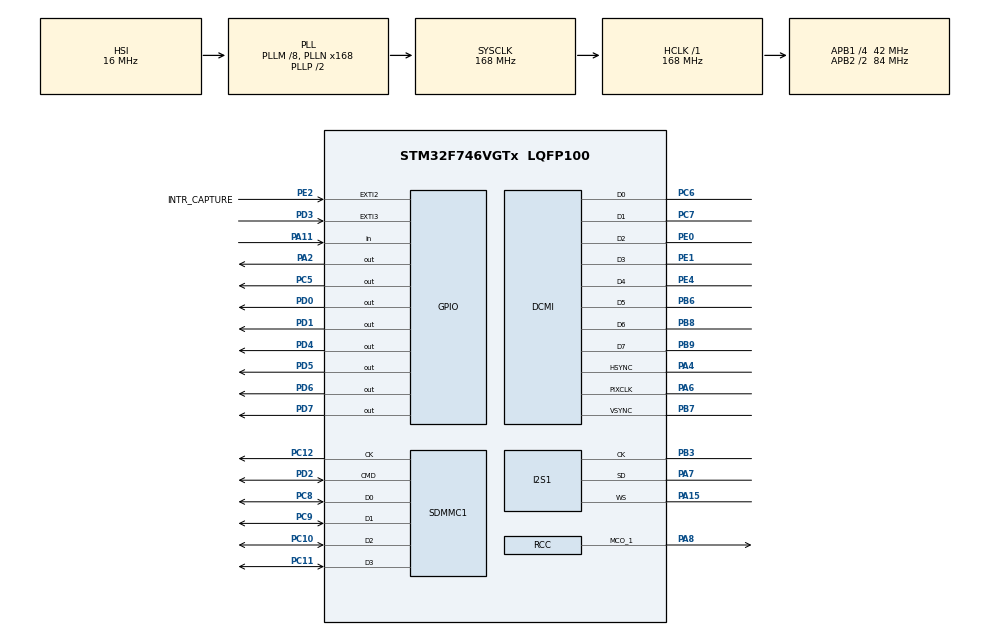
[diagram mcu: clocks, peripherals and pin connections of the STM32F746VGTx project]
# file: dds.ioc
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ARM.CMSIS.5.6.0.CMSISJjCORE=true
ARM.CMSIS.5.6.0.CMSISJjDSP=Source
DCMI.JPEGMode=DCMI_JPEG_ENABLE
DCMI.PCKPolarity=DCMI_PCKPOLARITY_RISING
Dma.DCMI.0.Direction=DMA_PERIPH_TO_MEMORY
Dma.DCMI.0.FIFOMode=DMA_FIFOMODE_DISABLE
Dma.DCMI.0.Instance=DMA2_Stream1
Dma.DCMI.0.MemDataAlignment=DMA_MDATAALIGN_WORD
Dma.DCMI.0.MemInc=DMA_MINC_ENABLE
Dma.DCMI.0.Mode=DMA_NORMAL
Dma.DCMI.0.PeriphDataAlignment=DMA_PDATAALIGN_WORD
Dma.DCMI.0.PeriphInc=DMA_PINC_DISABLE
Dma.DCMI.0.Priority=DMA_PRIORITY_HIGH
Dma.Request0=DCMI
Dma.Request1=SPI1_RX
Dma.SPI1_RX.1.Direction=DMA_PERIPH_TO_MEMORY
Dma.SPI1_RX.1.FIFOMode=DMA_FIFOMODE_DISABLE
Dma.SPI1_RX.1.Instance=DMA2_Stream0
Dma.SPI1_RX.1.MemDataAlignment=DMA_MDATAALIGN_HALFWORD
Dma.SPI1_RX.1.MemInc=DMA_MINC_ENABLE
Dma.SPI1_RX.1.Mode=DMA_NORMAL
Dma.SPI1_RX.1.PeriphDataAlignment=DMA_PDATAALIGN_HALFWORD
Dma.SPI1_RX.1.PeriphInc=DMA_PINC_DISABLE
Dma.SPI1_RX.1.Priority=DMA_PRIORITY_LOW
FATFS.BSP.number=1
FATFS._USE_LFN=1
FATFS0.BSP.STBoard=false
FATFS0.BSP.api=Unknown
FATFS0.BSP.i2caddr=0
FATFS0.BSP.instance=PA11
FATFS0.BSP.ip=GPIO
FATFS0.BSP.mode=Input
FATFS0.BSP.name=Detect_SDIO
FATFS0.BSP.solution=PA11
I2S1.AudioFreq=I2S_AUDIOFREQ_44K
I2S1.CPOL=I2S_CPOL_HIGH
I2S1.DataFormat=I2S_DATAFORMAT_24B
I2S1.ErrorAudioFreq=-1.35 %
I2S1.FullDuplexMode=I2S_FULLDUPLEXMODE_DISABLE
I2S1.Instance=SPI$Index
I2S1.Mode=I2S_MODE_MASTER_RX
I2S1.RealAudioFreq=43.402 KHz
I2S1.Standard=I2S_STANDARD_MSB
I2S1.VirtualMode=I2S_MODE_MASTER
Mcu.Family=STM32F7
Mcu.Name=STM32F746VGTx
Mcu.Package=LQFP100
Mcu.UserConstants=USE_HAL_DCMI_REGISTER_CALLBACKS,1
NVIC.DCMI_IRQn=true\:3\:0\:true\:false\:true\:true\:true
NVIC.DMA2_Stream0_IRQn=true\:0\:0\:false\:false\:true\:false\:true
NVIC.DMA2_Stream1_IRQn=true\:0\:0\:false\:false\:true\:false\:true
NVIC.EXTI2_IRQn=true\:1\:0\:true\:false\:true\:true\:true
NVIC.EXTI3_IRQn=true\:1\:0\:true\:false\:true\:true\:true
NVIC.PriorityGroup=NVIC_PRIORITYGROUP_4
NVIC.SDMMC1_IRQn=true\:2\:0\:true\:false\:true\:true\:true
NVIC.SPI1_IRQn=true\:2\:0\:true\:false\:true\:true\:true
PA11.Signal=GPIO_Input
PA13.Mode=Serial_Wire
PA13.Signal=SYS_JTMS-SWDIO
PA14.Mode=Serial_Wire
PA14.Signal=SYS_JTCK-SWCLK
PA15.Mode=Half_Duplex_Master
PA15.Signal=I2S1_WS
PA2.Signal=GPIO_Output
PA4.Mode=Slave_8_bits_External_Synchro
PA4.Signal=DCMI_HSYNC
PA6.Mode=Slave_8_bits_External_Synchro
PA6.Signal=DCMI_PIXCLK
PA7.Mode=Half_Duplex_Master
PA7.Signal=I2S1_SD
PA8.Mode=Clock-out-1
PA8.Signal=RCC_MCO_1
PB3.Mode=Half_Duplex_Master
PB3.Signal=I2S1_CK
PB6.Mode=Slave_8_bits_External_Synchro
PB6.Signal=DCMI_D5
PB7.Mode=Slave_8_bits_External_Synchro
PB7.Signal=DCMI_VSYNC
PB8.Mode=Slave_8_bits_External_Synchro
PB8.Signal=DCMI_D6
PB9.Mode=Slave_8_bits_External_Synchro
PB9.Signal=DCMI_D7
PC10.GPIO_PuPd=GPIO_PULLUP
PC10.Mode=SD_4_bits_Wide_bus
PC10.Signal=SDMMC1_D2
PC11.GPIO_PuPd=GPIO_PULLUP
PC11.Mode=SD_4_bits_Wide_bus
PC11.Signal=SDMMC1_D3
PC12.GPIO_PuPd=GPIO_PULLUP
PC12.Mode=SD_4_bits_Wide_bus
PC12.Signal=SDMMC1_CK
PC5.Signal=GPIO_Output
PC6.Mode=Slave_8_bits_External_Synchro
PC6.Signal=DCMI_D0
PC7.Mode=Slave_8_bits_External_Synchro
PC7.Signal=DCMI_D1
PC8.GPIO_PuPd=GPIO_PULLUP
PC8.Mode=SD_4_bits_Wide_bus
PC8.Signal=SDMMC1_D0
PC9.GPIO_PuPd=GPIO_PULLUP
PC9.Mode=SD_4_bits_Wide_bus
PC9.Signal=SDMMC1_D1
PD0.GPIO_ModeDefaultOutputPP=GPIO_MODE_OUTPUT_OD
PD0.GPIO_PuPd=GPIO_PULLUP
PD0.GPIO_Speed=GPIO_SPEED_FREQ_VERY_HIGH
PD0.PinState=GPIO_PIN_SET
PD0.Signal=GPIO_Output
PD1.GPIO_ModeDefaultOutputPP=GPIO_MODE_OUTPUT_OD
PD1.GPIO_PuPd=GPIO_PULLUP
PD1.GPIO_Speed=GPIO_SPEED_FREQ_VERY_HIGH
PD1.PinState=GPIO_PIN_SET
PD1.Signal=GPIO_Output
PD2.GPIO_PuPd=GPIO_PULLUP
PD2.Mode=SD_4_bits_Wide_bus
PD2.Signal=SDMMC1_CMD
PD3.GPIO_ModeDefaultEXTI=GPIO_MODE_IT_FALLING
PD3.GPIO_PuPd=GPIO_NOPULL
PD3.Signal=GPXTI3
PD4.Signal=GPIO_Output
PD5.GPIO_ModeDefaultOutputPP=GPIO_MODE_OUTPUT_PP
PD5.Signal=GPIO_Output
PD6.Signal=GPIO_Output
PD7.Signal=GPIO_Output
PE0.Mode=Slave_8_bits_External_Synchro
PE0.Signal=DCMI_D2
PE1.Mode=Slave_8_bits_External_Synchro
PE1.Signal=DCMI_D3
PE2.GPIO_Label=INTR_CAPTURE
PE2.GPIO_ModeDefaultEXTI=GPIO_MODE_IT_FALLING
PE2.GPIO_PuPd=GPIO_NOPULL
PE2.Signal=GPXTI2
PE4.Mode=Slave_8_bits_External_Synchro
PE4.Signal=DCMI_D4
ProjectManager.HeapSize=0x10000
ProjectManager.StackSize=0x800
ProjectManager.TargetToolchain=MDK-ARM V5.27
RCC.AHBFreq_Value=168000000
RCC.APB1CLKDivider=RCC_HCLK_DIV4
RCC.APB1Freq_Value=42000000
RCC.APB1TimFreq_Value=84000000
RCC.APB2CLKDivider=RCC_HCLK_DIV2
RCC.APB2Freq_Value=84000000
RCC.APB2TimFreq_Value=168000000
RCC.CortexFreq_Value=168000000
RCC.HCLKFreq_Value=168000000
RCC.HSE_VALUE=8000000
RCC.HSI_VALUE=16000000
RCC.LSE_VALUE=32768
RCC.PLLI2SN=50
RCC.PLLI2SR=4
RCC.PLLM=8
RCC.PLLN=168
RCC.PLLQ=14
RCC.SDMMCClockSelection=RCC_SDMMC1CLKSOURCE_CLK48
RCC.SYSCLKFreq_VALUE=168000000
RCC.SYSCLKSource=RCC_SYSCLKSOURCE_PLLCLK
RCC.USBFreq_Value=24000000
RCC.VCOOutputFreq_Value=336000000
VP_ARM.CMSIS_VS_CMSISJjCORE_5.3.0_5.6.0.Mode=CMSISJjCORE
VP_ARM.CMSIS_VS_CMSISJjDSP_1.7.0_5.6.0.Mode=CMSISJjDSP
VP_FATFS_VS_SDIO.Mode=SDIO
board=custom

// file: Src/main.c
#include "main.h"
#include "fatfs.h"

/* USER CODE BEGIN Includes */
#include "ov5640.h"
#include "dsp.h"
#include "board.h"
#include "led.h"
#include "camera.h"
#include "configs.h"
#include "audio.h"
#include "gpio.h"
#include "sdio.h"
#include "state_macros.h"

#include <string.h>
#include <stdio.h>
#include <stdlib.h>
#include <stdbool.h>
/* USER CODE END Includes */

DCMI_HandleTypeDef hdcmi;
DMA_HandleTypeDef hdma_dcmi;
I2S_HandleTypeDef hi2s1;
DMA_HandleTypeDef hdma_spi1_rx;
SD_HandleTypeDef hsd1;

/* USER CODE BEGIN PV */
volatile AppState state = INITIALIZING;
/* USER CODE END PV */

void SystemClock_Config(void);
static void MX_GPIO_Init(void);
static void MX_DMA_Init(void);
static void MX_I2S1_Init(void);
static void MX_DCMI_Init(void);
static void MX_SDMMC1_SD_Init(void);

/* USER CODE BEGIN PFP */
static void start_recording(void);
static void stop_recording(void);
static void toggle_record_state();
static void handle_btn_events(uint16_t pin);
/* USER CODE END PFP */

int main(void)
{

  /* MCU Configuration--------------------------------------------------------*/

  /* Reset of all peripherals, Initializes the Flash interface and the Systick. */
  HAL_Init();

  /* Configure the system clock */
  SystemClock_Config();

  /* Initialize all configured peripherals */
  MX_GPIO_Init();
  MX_DMA_Init();
  MX_I2S1_Init();
  MX_DCMI_Init();
  MX_SDMMC1_SD_Init();
  MX_FATFS_Init();
  /* USER CODE BEGIN 2 */

  init_gpio();
  init_sd_fatfs();
  init_camera();
	init_audio();

  led_ready();
	state = SUSPENDED;

  /* USER CODE END 2 */
  /* Infinite loop */
  while (1)
  {
    /* USER CODE BEGIN 3 */
    app_background_audio(state);
    app_background_camera(&hdcmi);
  }
  /* USER CODE END 3 */
}

void SystemClock_Config(void)
{
  RCC_OscInitTypeDef RCC_OscInitStruct = {0};
  RCC_ClkInitTypeDef RCC_ClkInitStruct = {0};
  RCC_PeriphCLKInitTypeDef PeriphClkInitStruct = {0};

  /** Configure the main internal regulator output voltage
   */
  __HAL_RCC_PWR_CLK_ENABLE();
  __HAL_PWR_VOLTAGESCALING_CONFIG(PWR_REGULATOR_VOLTAGE_SCALE2);
  /** Initializes the CPU, AHB and APB busses clocks
   */
  RCC_OscInitStruct.OscillatorType = RCC_OSCILLATORTYPE_HSI;
  RCC_OscInitStruct.HSIState = RCC_HSI_ON;
  RCC_OscInitStruct.HSICalibrationValue = RCC_HSICALIBRATION_DEFAULT;
  RCC_OscInitStruct.PLL.PLLState = RCC_PLL_ON;
  RCC_OscInitStruct.PLL.PLLSource = RCC_PLLSOURCE_HSI;
  RCC_OscInitStruct.PLL.PLLM = 8;
  RCC_OscInitStruct.PLL.PLLN = 168;
  RCC_OscInitStruct.PLL.PLLP = RCC_PLLP_DIV2;
  RCC_OscInitStruct.PLL.PLLQ = 14;
  if (HAL_RCC_OscConfig(&RCC_OscInitStruct) != HAL_OK)
  {
    Error_Handler();
  }
  /** Initializes the CPU, AHB and APB busses clocks
   */
  RCC_ClkInitStruct.ClockType = RCC_CLOCKTYPE_HCLK | RCC_CLOCKTYPE_SYSCLK | RCC_CLOCKTYPE_PCLK1 | RCC_CLOCKTYPE_PCLK2;
  RCC_ClkInitStruct.SYSCLKSource = RCC_SYSCLKSOURCE_PLLCLK;
  RCC_ClkInitStruct.AHBCLKDivider = RCC_SYSCLK_DIV1;
  RCC_ClkInitStruct.APB1CLKDivider = RCC_HCLK_DIV4;
  RCC_ClkInitStruct.APB2CLKDivider = RCC_HCLK_DIV2;

  if (HAL_RCC_ClockConfig(&RCC_ClkInitStruct, FLASH_LATENCY_5) != HAL_OK)
  {
    Error_Handler();
  }
  PeriphClkInitStruct.PeriphClockSelection = RCC_PERIPHCLK_SDMMC1 | RCC_PERIPHCLK_I2S | RCC_PERIPHCLK_CLK48;
  PeriphClkInitStruct.PLLI2S.PLLI2SN = 50;
  PeriphClkInitStruct.PLLI2S.PLLI2SP = RCC_PLLP_DIV2;
  PeriphClkInitStruct.PLLI2S.PLLI2SR = 4;
  PeriphClkInitStruct.PLLI2S.PLLI2SQ = 2;
  PeriphClkInitStruct.PLLI2SDivQ = 1;
  PeriphClkInitStruct.I2sClockSelection = RCC_I2SCLKSOURCE_PLLI2S;
  PeriphClkInitStruct.Clk48ClockSelection = RCC_CLK48SOURCE_PLL;
  PeriphClkInitStruct.Sdmmc1ClockSelection = RCC_SDMMC1CLKSOURCE_CLK48;
  if (HAL_RCCEx_PeriphCLKConfig(&PeriphClkInitStruct) != HAL_OK)
  {
    Error_Handler();
  }
  HAL_RCC_MCOConfig(RCC_MCO1, RCC_MCO1SOURCE_HSI, RCC_MCODIV_1);
}

static void MX_DCMI_Init(void)
{
  hdcmi.Instance = DCMI;
  hdcmi.Init.SynchroMode = DCMI_SYNCHRO_HARDWARE;
  hdcmi.Init.PCKPolarity = DCMI_PCKPOLARITY_RISING;
  hdcmi.Init.VSPolarity = DCMI_VSPOLARITY_LOW;
  hdcmi.Init.HSPolarity = DCMI_HSPOLARITY_LOW;
  hdcmi.Init.CaptureRate = DCMI_CR_ALL_FRAME;
  hdcmi.Init.ExtendedDataMode = DCMI_EXTEND_DATA_8B;
  hdcmi.Init.JPEGMode = DCMI_JPEG_ENABLE;
  hdcmi.Init.ByteSelectMode = DCMI_BSM_ALL;
  hdcmi.Init.ByteSelectStart = DCMI_OEBS_ODD;
  hdcmi.Init.LineSelectMode = DCMI_LSM_ALL;
  hdcmi.Init.LineSelectStart = DCMI_OELS_ODD;
  if (HAL_DCMI_Init(&hdcmi) != HAL_OK)
  {
    Error_Handler();
  }
}

static void MX_I2S1_Init(void)
{
  hi2s1.Instance = SPI1;
  hi2s1.Init.Mode = I2S_MODE_MASTER_RX;
  hi2s1.Init.Standard = I2S_STANDARD_MSB;
  hi2s1.Init.DataFormat = I2S_DATAFORMAT_24B;
  hi2s1.Init.MCLKOutput = I2S_MCLKOUTPUT_DISABLE;
  hi2s1.Init.AudioFreq = I2S_AUDIOFREQ_44K;
  hi2s1.Init.CPOL = I2S_CPOL_HIGH;
  hi2s1.Init.ClockSource = I2S_CLOCK_PLL;
  if (HAL_I2S_Init(&hi2s1) != HAL_OK)
  {
    Error_Handler();
  }
}

static void MX_SDMMC1_SD_Init(void)
{

  hsd1.Instance = SDMMC1;
  hsd1.Init.ClockEdge = SDMMC_CLOCK_EDGE_RISING;
  hsd1.Init.ClockBypass = SDMMC_CLOCK_BYPASS_DISABLE;
  hsd1.Init.ClockPowerSave = SDMMC_CLOCK_POWER_SAVE_DISABLE;
  hsd1.Init.BusWide = SDMMC_BUS_WIDE_1B;
  hsd1.Init.HardwareFlowControl = SDMMC_HARDWARE_FLOW_CONTROL_DISABLE;
  hsd1.Init.ClockDiv = 0;
}

static void MX_DMA_Init(void)
{

  /* DMA controller clock enable */
  __HAL_RCC_DMA2_CLK_ENABLE();

  /* DMA interrupt init */
  /* DMA2_Stream0_IRQn interrupt configuration */
  HAL_NVIC_SetPriority(DMA2_Stream0_IRQn, 0, 0);
  HAL_NVIC_EnableIRQ(DMA2_Stream0_IRQn);
  /* DMA2_Stream1_IRQn interrupt configuration */
  HAL_NVIC_SetPriority(DMA2_Stream1_IRQn, 0, 0);
  HAL_NVIC_EnableIRQ(DMA2_Stream1_IRQn);
}

static void MX_GPIO_Init(void)
{
  GPIO_InitTypeDef GPIO_InitStruct = {0};

  /* GPIO Ports Clock Enable */
  __HAL_RCC_GPIOE_CLK_ENABLE();
  __HAL_RCC_GPIOA_CLK_ENABLE();
  __HAL_RCC_GPIOC_CLK_ENABLE();
  __HAL_RCC_GPIOD_CLK_ENABLE();
  __HAL_RCC_GPIOB_CLK_ENABLE();

  /*Configure GPIO pin Output Level */
  HAL_GPIO_WritePin(GPIOA, GPIO_PIN_2, GPIO_PIN_RESET);

  /*Configure GPIO pin Output Level */
  HAL_GPIO_WritePin(GPIOC, GPIO_PIN_5, GPIO_PIN_RESET);

  /*Configure GPIO pin Output Level */
  HAL_GPIO_WritePin(GPIOD, GPIO_PIN_0 | GPIO_PIN_1, GPIO_PIN_SET);

  /*Configure GPIO pin Output Level */
  HAL_GPIO_WritePin(GPIOD, GPIO_PIN_4 | GPIO_PIN_5 | GPIO_PIN_6 | GPIO_PIN_7, GPIO_PIN_RESET);

  /*Configure GPIO pin : INTR_CAPTURE_Pin */
  GPIO_InitStruct.Pin = INTR_CAPTURE_Pin;
  GPIO_InitStruct.Mode = GPIO_MODE_IT_FALLING;
  GPIO_InitStruct.Pull = GPIO_NOPULL;
  HAL_GPIO_Init(INTR_CAPTURE_GPIO_Port, &GPIO_InitStruct);

  /*Configure GPIO pin : PA2 */
  GPIO_InitStruct.Pin = GPIO_PIN_2;
  GPIO_InitStruct.Mode = GPIO_MODE_OUTPUT_PP;
  GPIO_InitStruct.Pull = GPIO_NOPULL;
  GPIO_InitStruct.Speed = GPIO_SPEED_FREQ_LOW;
  HAL_GPIO_Init(GPIOA, &GPIO_InitStruct);

  /*Configure GPIO pin : PC5 */
  GPIO_InitStruct.Pin = GPIO_PIN_5;
  GPIO_InitStruct.Mode = GPIO_MODE_OUTPUT_PP;
  GPIO_InitStruct.Pull = GPIO_NOPULL;
  GPIO_InitStruct.Speed = GPIO_SPEED_FREQ_LOW;
  HAL_GPIO_Init(GPIOC, &GPIO_InitStruct);

  /*Configure GPIO pin : PA8 */
  GPIO_InitStruct.Pin = GPIO_PIN_8;
  GPIO_InitStruct.Mode = GPIO_MODE_AF_PP;
  GPIO_InitStruct.Pull = GPIO_NOPULL;
  GPIO_InitStruct.Speed = GPIO_SPEED_FREQ_LOW;
  GPIO_InitStruct.Alternate = GPIO_AF0_MCO;
  HAL_GPIO_Init(GPIOA, &GPIO_InitStruct);

  /*Configure GPIO pin : PA11 */
  GPIO_InitStruct.Pin = GPIO_PIN_11;
  GPIO_InitStruct.Mode = GPIO_MODE_INPUT;
  GPIO_InitStruct.Pull = GPIO_NOPULL;
  HAL_GPIO_Init(GPIOA, &GPIO_InitStruct);

  /*Configure GPIO pins : PD0 PD1 */
  GPIO_InitStruct.Pin = GPIO_PIN_0 | GPIO_PIN_1;
  GPIO_InitStruct.Mode = GPIO_MODE_OUTPUT_OD;
  GPIO_InitStruct.Pull = GPIO_PULLUP;
  GPIO_InitStruct.Speed = GPIO_SPEED_FREQ_VERY_HIGH;
  HAL_GPIO_Init(GPIOD, &GPIO_InitStruct);

  /*Configure GPIO pin : PD3 */
  GPIO_InitStruct.Pin = GPIO_PIN_3;
  GPIO_InitStruct.Mode = GPIO_MODE_IT_FALLING;
  GPIO_InitStruct.Pull = GPIO_NOPULL;
  HAL_GPIO_Init(GPIOD, &GPIO_InitStruct);

  /*Configure GPIO pins : PD4 PD5 PD6 PD7 */
  GPIO_InitStruct.Pin = GPIO_PIN_4 | GPIO_PIN_5 | GPIO_PIN_6 | GPIO_PIN_7;
  GPIO_InitStruct.Mode = GPIO_MODE_OUTPUT_PP;
  GPIO_InitStruct.Pull = GPIO_NOPULL;
  GPIO_InitStruct.Speed = GPIO_SPEED_FREQ_LOW;
  HAL_GPIO_Init(GPIOD, &GPIO_InitStruct);

  /* EXTI interrupt init*/
  HAL_NVIC_SetPriority(EXTI2_IRQn, 1, 0);
  HAL_NVIC_EnableIRQ(EXTI2_IRQn);

  HAL_NVIC_SetPriority(EXTI3_IRQn, 1, 0);
  HAL_NVIC_EnableIRQ(EXTI3_IRQn);
}

/* USER CODE BEGIN 4 */
void stop_recording()
{
  stop_camera();
  stop_audio();
  led_stop();

	state = SUSPENDED;
}

void start_recording()
{
  led_success();
  start_audio();
  start_camera();
  led_ready();

  state = RUNNING;
}

void toggle_record_state()
{
	switch (state){
		default: break;

		case SUSPENDED:
			start_recording();
			break;

		case RUNNING:
			stop_recording();
			break;
	}
}

void handle_btn_events(uint16_t pin)
{
  if (state == INITIALIZING)
    return;

  /* Begin critical section */
  disable_gpio_irq_all();
  led_stop();

	/* Debouncing logic. Waits for button to be released. */
  for (int cnt = 0; cnt < DEBOUNCE_THRESHOLD; cnt++)
  {
    HAL_Delay(10);
    if (HAL_GPIO_ReadPin(GPIOD, pin) == GPIO_PIN_RESET)
      cnt = 0;
  }

  switch (pin)
  {
		default:
			break;

		case BTN_FLASHLIGHT:
			toggle_flashlight();
			break;

		case BTN_RECORDING:
			led_success();
			toggle_record_state();
			break;
  }

  /* End critical section and resume interrupts */
  restart_gpio_irq_all();
}

void HAL_GPIO_EXTI_Callback(uint16_t GPIO_Pin)
{
	handle_btn_events(GPIO_Pin);
}

void HAL_I2S_RxCpltCallback(I2S_HandleTypeDef *hi2s)
{
  app_audio_callback(hi2s);
}

void HAL_I2S_ErrorCallback(I2S_HandleTypeDef *hi2s)
{

}

/* USER CODE END 4 */

void Error_Handler(void)
{
}

/************************ (C) COPYRIGHT STMicroelectronics *****END OF FILE****/
